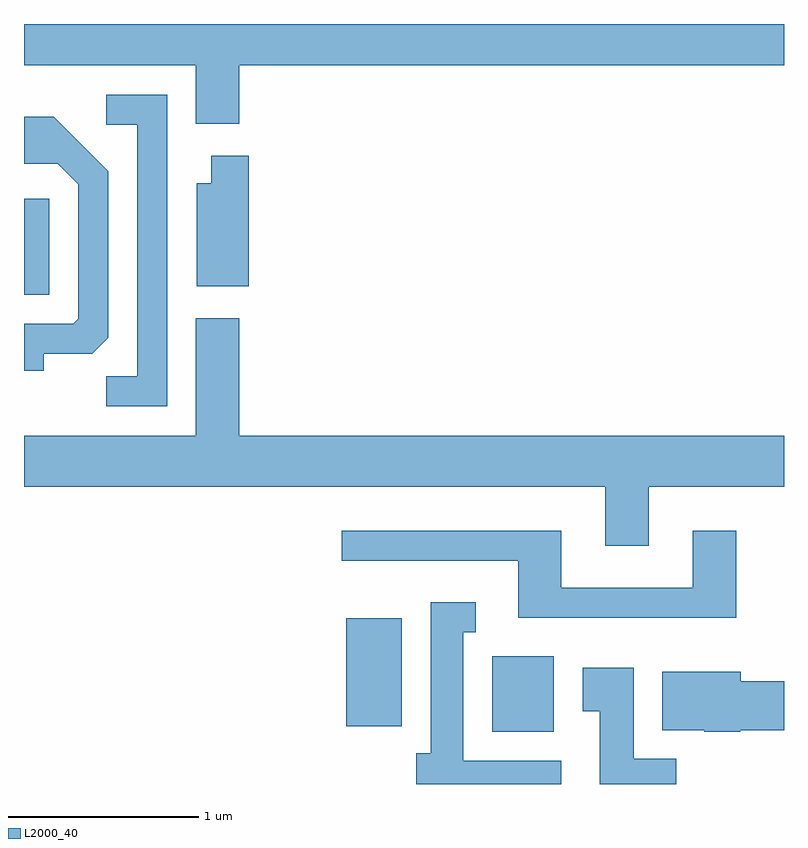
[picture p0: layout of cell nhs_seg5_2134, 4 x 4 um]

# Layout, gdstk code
import gdstk
lib = gdstk.Library(unit=1e-6, precision=1e-09)
def R(c, l, rs):  # rectangles x0, y0, x1, y1
    for r in rs: c.add(gdstk.rectangle(r[:2], r[2:], *l))
def P(c, l, *ps):  # polygons
    for p in ps: c.add(gdstk.Polygon(p, *l))
L2000_40 = (2000, 40)

nhs_seg5_2134 = lib.new_cell('nhs_seg5_2134')
R(nhs_seg5_2134, L2000_40, [(250.076,1504.346,250.399,1504.744), (249.306,1504.376,249.599,1504.944), (247.611,1506.646,247.744,1507.153)])
P(nhs_seg5_2134, L2000_40, [(248.744,1507.856),(251.611,1507.856),(251.611,1508.072),(247.611,1508.072),(247.611,1507.856),(248.516,1507.856),(248.516,1507.546),(248.744,1507.546)],
  [(248.364,1507.699),(248.043,1507.699),(248.043,1507.541),(248.206,1507.541),(248.206,1506.219),(248.043,1506.219),(248.043,1506.061),(248.364,1506.061)],
  [(247.714,1506.336),(247.969,1506.336),(248.054,1506.422),(248.054,1507.297),(247.767,1507.584),(247.611,1507.584),(247.611,1507.336),(247.789,1507.336),(247.896,1507.229),(247.896,1506.522),(247.869,1506.494),(247.611,1506.494),(247.611,1506.246),(247.714,1506.246)],
  [(248.794,1507.379),(248.596,1507.379),(248.596,1507.234),(248.521,1507.234),(248.521,1506.691),(248.794,1506.691)],
  [(250.899,1505.636),(251.611,1505.636),(251.611,1505.904),(248.744,1505.904),(248.744,1506.524),(248.516,1506.524),(248.516,1505.904),(247.611,1505.904),(247.611,1505.636),(250.671,1505.636),(250.671,1505.326),(250.899,1505.326)],
  [(251.359,1505.404),(251.131,1505.404),(251.131,1505.104),(250.439,1505.104),(250.439,1505.404),(249.283,1505.404),(249.283,1505.246),(250.211,1505.246),(250.211,1504.946),(251.359,1504.946)],
  [(250.439,1504.194),(249.924,1504.194),(249.924,1504.871),(249.988,1504.871),(249.988,1505.029),(249.751,1505.029),(249.751,1504.234),(249.676,1504.234),(249.676,1504.072),(250.439,1504.072)],
  [(251.044,1504.204),(250.819,1504.204),(250.819,1504.684),(250.551,1504.684),(250.551,1504.456),(250.641,1504.456),(250.641,1504.072),(251.044,1504.072)],
  [(251.38,1504.356),(251.611,1504.356),(251.611,1504.614),(251.384,1504.614),(251.384,1504.664),(250.971,1504.664),(250.971,1504.356),(251.19,1504.356),(251.19,1504.346),(251.38,1504.346)])

lib.write_gds('nhs_seg5_2134.gds')
